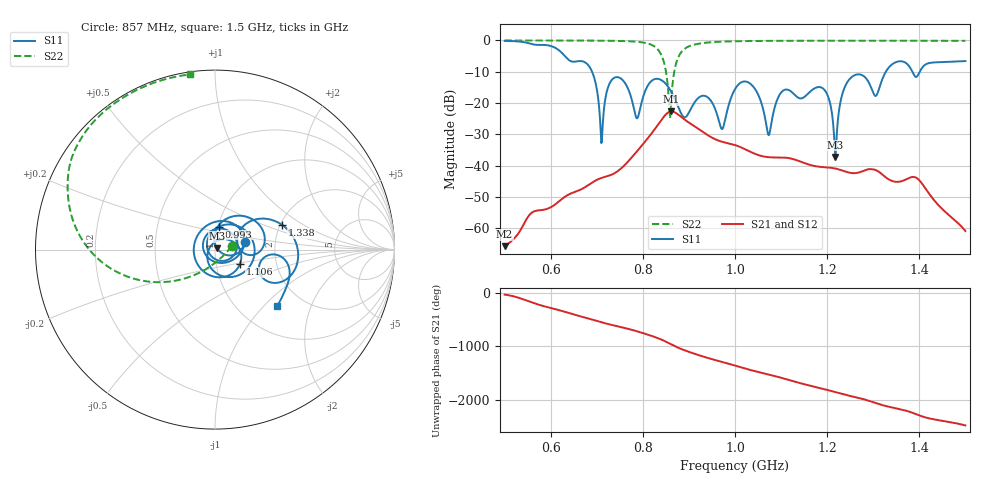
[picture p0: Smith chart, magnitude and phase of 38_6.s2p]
! TOUCHSTONE file generated by CST MICROWAVE STUDIO
! Date and time: Tue Nov 24 13:48:50 2020
! Project name: Scenario_1_Planar_Body_Tissue_Out_of_Line.cst
! Parameters = {dy1=294.1; L_HA=400; Ltissue=700; MT=2.54; Rad_Dielectric=30; Rad_Lower=7.3; Rad_Upper=30; Wtissue=700; a_HA=580; a_WG=246; b_HA=500; b_WG=121; c_HA=0; c_WG=187; d_feed=85; dx1=1039; h_feed=15; h_lower=18; h_upper=40; hfat=3; hgap=25; hmuscle=50; hskin=1.5}
! Header version: 2018
! Port assignment regex: !\s*Touchstone port\s*([0-9]+)\s*=\s*(CST MWS port|CST DS port)\s*([0-9]+|Zmin|Zmax)\s*\(\"(.*)\"\)(\s*mode\s*([0-9]+))?.*
! Touchstone port assignment:
! Touchstone port 1 = CST MWS port 1 ("")
! Touchstone port 2 = CST MWS port 2 ("")
# GHz S DB R 50
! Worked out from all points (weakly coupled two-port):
!   1003 points, 500 MHz to 1.5 GHz, reference 50 ohm
!   highest |S21| = -22.68 dB at 862 MHz (marker M1); lowest = -65.7 dB at 500 MHz (marker M2)
!   lowest |S11| = -37.2 dB at 1.218 GHz (marker M3), VSWR 1.03, Z = 51.1 + j0.848 ohm
!   |S11| at or under -10 dB: 689.8 MHz to 1.327 GHz (637.5 MHz wide, 63.2 % of centre); 1.385 GHz to 1.401 GHz (16.14 MHz wide, 1.16 % of centre)
!   |S22| runs from -25.0 to 0.0 dB; largest |S21 - S12| = 1.1e-05
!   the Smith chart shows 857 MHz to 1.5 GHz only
!   S11 on the Smith chart (normalised r, x): 857 MHz: 1.40, +0.12; 993 MHz: 1.01, +0.26; 1.106 GHz: 1.30, -0.21; 1.338 GHz: 2.04, +0.67; 1.5 GHz: 1.49, -1.20
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0.5  -0.15 -121.7  -65.72 -29.4  -65.72 -29.4  -0.01 151.2
0.667  -6.62 144.9  -47.50 -83.6  -47.50 -83.6  -0.04 138.4
0.71  -32.79 130.3  -43.94 172.1  -43.94 172.1  -0.08 133.7
0.736  -12.12 166.3  -42.62 114.5  -42.62 114.5  -0.12 130.0
0.787  -24.87 129.8  -35.47 3.5  -35.47 3.5  -0.42 118.3
0.834  -12.31 83.5  -26.68 -130.2  -26.68 -130.2  -3.16 85.2
0.857  -15.25 13.8  -22.86 138.4  -22.86 138.4  -20.49 11.5
0.862  -16.49 -2.7  -22.68 116.1  -22.68 116.1  -18.38 -115.0
0.888  -24.39 -121.3  -25.00 15.8  -25.00 15.8  -3.00 179.3
0.935  -17.73 25.1  -29.70 -121.1  -29.70 -121.1  -0.76 153.3
0.972  -28.31 -153.3  -32.37 149.7  -32.37 149.7  -0.38 144.7
0.993  -17.73 80.1  -33.13 98.3  -33.13 98.3  -0.30 141.4
1  -15.57 56.9  -33.43 80.5  -33.43 80.5  -0.27 140.4
1.073  -30.26 146.8  -37.30 -86.0  -37.30 -86.0  -0.15 132.3
1.106  -15.89 -29.9  -37.41 -160.5  -37.41 -160.5  -0.12 129.3
1.167  -15.87 81.0  -39.93 56.5  -39.93 56.5  -0.10 124.3
1.199  -16.89 -2.0  -40.56 -11.8  -40.56 -11.8  -0.09 121.8
1.218  -37.20 36.9  -40.93 -56.3  -40.93 -56.3  -0.09 120.3
1.247  -12.65 54.2  -42.20 -121.4  -42.20 -121.4  -0.09 118.2
1.334  -8.61 25.3  -44.41 31.0  -44.41 31.0  -0.09 111.6
1.338  -8.00 20.3  -44.71 23.5  -44.71 23.5  -0.09 111.3
1.5  -6.59 -42.1  -60.89 40.6  -60.89 40.6  -0.13 98.1
